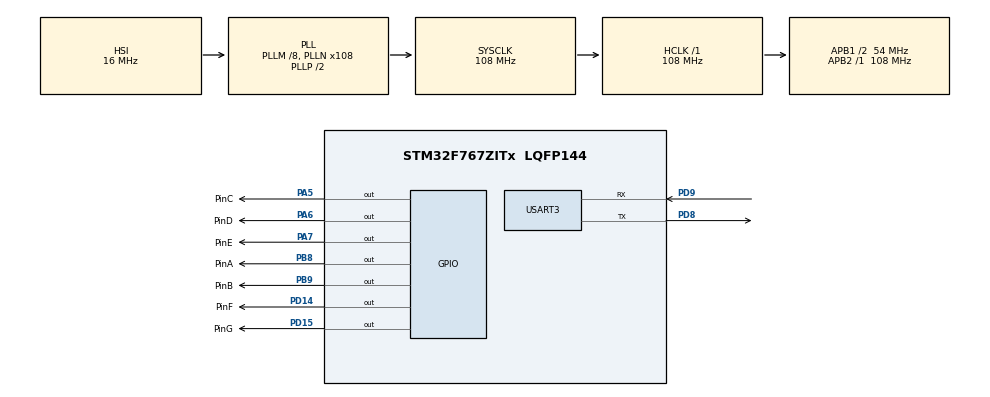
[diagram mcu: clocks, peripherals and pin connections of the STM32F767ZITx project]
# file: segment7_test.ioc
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CORTEX_M7.default_mode_Activation=1
Mcu.Family=STM32F7
Mcu.Name=STM32F767ZITx
Mcu.Package=LQFP144
NVIC.PriorityGroup=NVIC_PRIORITYGROUP_4
PA5.GPIO_Label=PinC
PA5.GPIO_PuPd=GPIO_NOPULL
PA5.Signal=GPIO_Output
PA6.GPIO_Label=PinD
PA6.GPIO_PuPd=GPIO_NOPULL
PA6.Signal=GPIO_Output
PA7.GPIO_Label=PinE
PA7.GPIO_PuPd=GPIO_NOPULL
PA7.Signal=GPIO_Output
PB8.GPIO_Label=PinA
PB8.GPIO_PuPd=GPIO_NOPULL
PB8.Signal=GPIO_Output
PB9.GPIO_Label=PinB
PB9.GPIO_PuPd=GPIO_NOPULL
PB9.Signal=GPIO_Output
PD14.GPIO_Label=PinF
PD14.GPIO_PuPd=GPIO_NOPULL
PD14.Signal=GPIO_Output
PD15.GPIO_Label=PinG
PD15.GPIO_PuPd=GPIO_NOPULL
PD15.Signal=GPIO_Output
PD8.Mode=Asynchronous
PD8.Signal=USART3_TX
PD9.Mode=Asynchronous
PD9.Signal=USART3_RX
PH0/OSC_IN.Mode=HSE-External-Oscillator
PH0/OSC_IN.Signal=RCC_OSC_IN
PH1/OSC_OUT.Mode=HSE-External-Oscillator
PH1/OSC_OUT.Signal=RCC_OSC_OUT
ProjectManager.HeapSize=0x200
ProjectManager.StackSize=0x400
ProjectManager.TargetToolchain=STM32CubeIDE
RCC.48MHZClocksFreq_Value=24000000
RCC.AHBFreq_Value=108000000
RCC.APB1CLKDivider=RCC_HCLK_DIV2
RCC.APB1Freq_Value=54000000
RCC.APB1TimFreq_Value=108000000
RCC.APB2Freq_Value=108000000
RCC.APB2TimFreq_Value=108000000
RCC.CortexFreq_Value=108000000
RCC.HCLKFreq_Value=108000000
RCC.HSE_VALUE=16000000
RCC.HSI_VALUE=16000000
RCC.LSE_VALUE=32768
RCC.PLLM=8
RCC.PLLMUL=RCC_PLL_MUL9
RCC.PLLN=108
RCC.PRESCALERUSB=RCC_USBCLKSOURCE_PLL_DIV1_5
RCC.SYSCLKFreq_VALUE=108000000
RCC.SYSCLKSource=RCC_SYSCLKSOURCE_PLLCLK
RCC.SYSCLKSourceVirtual=RCC_SYSCLKSOURCE_PLLCLK
RCC.USBFreq_Value=108000000
RCC.VCOOutputFreq_Value=216000000
USART3.VirtualMode-Asynchronous=VM_ASYNC
board=NUCLEO-F767ZI

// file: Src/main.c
/* USER CODE BEGIN Header */
/**
  ******************************************************************************
  * @file           : main.c
  * @brief          : Main program body
  ******************************************************************************
  * @attention
  *
  * Copyright (c) 2026 STMicroelectronics.
  * All rights reserved.
  *
  * This software is licensed under terms that can be found in the LICENSE file
  * in the root directory of this software component.
  * If no LICENSE file comes with this software, it is provided AS-IS.
  *
  ******************************************************************************
  */
/* USER CODE END Header */
#include "main.h"

UART_HandleTypeDef huart3;

/* USER CODE BEGIN PV */
// Set to 1 for Common Cathode (Active HIGH), 0 for Common Anode (Active LOW)
#define IS_COMMON_CATHODE 1

// Segment GPIO Port and Pins
GPIO_TypeDef* SEG_PORTS[7] = {
    PinA_GPIO_Port, // A
    PinB_GPIO_Port, // B
    PinC_GPIO_Port, // C
    PinD_GPIO_Port, // D
    PinE_GPIO_Port, // E
    PinF_GPIO_Port, // F
    PinG_GPIO_Port  // G
};

const uint16_t SEG_PINS[7] = {
    PinA_Pin, // A
    PinB_Pin, // B
    PinC_Pin, // C
    PinD_Pin, // D
    PinE_Pin, // E
    PinF_Pin, // F
    PinG_Pin  // G
};

// 7-Segment Digit Map (A, B, C, D, E, F, G)
// 1 = ON, 0 = OFF (for Common Cathode)
const uint8_t digit_map[10][7] = {
    {1, 1, 1, 1, 1, 1, 0}, // 0
    {0, 1, 1, 0, 0, 0, 0}, // 1
    {1, 1, 0, 1, 1, 0, 1}, // 2
    {1, 1, 1, 1, 0, 0, 1}, // 3
    {0, 1, 1, 0, 0, 1, 1}, // 4
    {1, 0, 1, 1, 0, 1, 1}, // 5
    {1, 0, 1, 1, 1, 1, 1}, // 6
    {1, 1, 1, 0, 0, 0, 0}, // 7
    {1, 1, 1, 1, 1, 1, 1}, // 8
    {1, 1, 1, 1, 0, 1, 1}  // 9
};

/* USER CODE END PV */

void SystemClock_Config(void);
static void MPU_Config(void);
static void MX_GPIO_Init(void);
static void MX_USART3_UART_Init(void);

/* USER CODE BEGIN 0 */
void Display_Number(uint8_t num) {
    if (num > 9) return;

    for (int i = 0; i < 7; i++) {
        uint8_t state = digit_map[num][i];

        #if !IS_COMMON_CATHODE
            state = !state; // Invert logic for Common Anode
        #endif

        HAL_GPIO_WritePin(SEG_PORTS[i], SEG_PINS[i], state ? GPIO_PIN_SET : GPIO_PIN_RESET);
    }
}

/* USER CODE END 0 */

int main(void)
{

  /* USER CODE BEGIN 1 */
  char uart_buf[128];
  int uart_buf_len;

  /* USER CODE END 1 */

  /* MPU Configuration--------------------------------------------------------*/
  MPU_Config();

  /* MCU Configuration--------------------------------------------------------*/

  /* Reset of all peripherals, Initializes the Flash interface and the Systick. */
  HAL_Init();

  /* Configure the system clock */
  SystemClock_Config();

  /* Initialize all configured peripherals */
  MX_GPIO_Init();
  MX_USART3_UART_Init();
  /* USER CODE BEGIN 2 */
  uart_buf_len = sprintf(uart_buf, "7-segment starting\r\n");
  HAL_UART_Transmit(&huart3, (uint8_t *)uart_buf, uart_buf_len, 100);

  /* USER CODE END 2 */

  /* Infinite loop */
  while (1)
  {

    /* USER CODE BEGIN 3 */
    for (int i = 9; i >= 0; i--) {
          uart_buf_len = sprintf(uart_buf, "Counting down: %d\r\n", i);
          HAL_UART_Transmit(&huart3, (uint8_t *)uart_buf, uart_buf_len, 100);

          Display_Number(i);
          // HAL_GPIO_TogglePin(SEG_PORTS[0], SEG_PINS[0]);
          // HAL_GPIO_TogglePin(SEG_PORTS[1], SEG_PINS[1]);
          // HAL_GPIO_TogglePin(SEG_PORTS[2], SEG_PINS[2]);
          // HAL_GPIO_TogglePin(SEG_PORTS[3], SEG_PINS[3]);
          HAL_Delay(1000);
      }
    uart_buf_len = sprintf(uart_buf, "Restarting\r\n");
    HAL_UART_Transmit(&huart3, (uint8_t *)uart_buf, uart_buf_len, 100);
  }
  /* USER CODE END 3 */
}

void SystemClock_Config(void)
{
  RCC_OscInitTypeDef RCC_OscInitStruct = {0};
  RCC_ClkInitTypeDef RCC_ClkInitStruct = {0};

  /** Configure the main internal regulator output voltage
  */
  __HAL_RCC_PWR_CLK_ENABLE();
  __HAL_PWR_VOLTAGESCALING_CONFIG(PWR_REGULATOR_VOLTAGE_SCALE3);

  /** Initializes the RCC Oscillators according to the specified parameters
  * in the RCC_OscInitTypeDef structure.
  */
  RCC_OscInitStruct.OscillatorType = RCC_OSCILLATORTYPE_HSI;
  RCC_OscInitStruct.HSIState = RCC_HSI_ON;
  RCC_OscInitStruct.HSICalibrationValue = RCC_HSICALIBRATION_DEFAULT;
  RCC_OscInitStruct.PLL.PLLState = RCC_PLL_ON;
  RCC_OscInitStruct.PLL.PLLSource = RCC_PLLSOURCE_HSI;
  RCC_OscInitStruct.PLL.PLLM = 8;
  RCC_OscInitStruct.PLL.PLLN = 108;
  RCC_OscInitStruct.PLL.PLLP = RCC_PLLP_DIV2;
  RCC_OscInitStruct.PLL.PLLQ = 2;
  RCC_OscInitStruct.PLL.PLLR = 2;
  if (HAL_RCC_OscConfig(&RCC_OscInitStruct) != HAL_OK)
  {
    Error_Handler();
  }

  /** Activate the Over-Drive mode
  */
  if (HAL_PWREx_EnableOverDrive() != HAL_OK)
  {
    Error_Handler();
  }

  /** Initializes the CPU, AHB and APB buses clocks
  */
  RCC_ClkInitStruct.ClockType = RCC_CLOCKTYPE_HCLK|RCC_CLOCKTYPE_SYSCLK
                              |RCC_CLOCKTYPE_PCLK1|RCC_CLOCKTYPE_PCLK2;
  RCC_ClkInitStruct.SYSCLKSource = RCC_SYSCLKSOURCE_PLLCLK;
  RCC_ClkInitStruct.AHBCLKDivider = RCC_SYSCLK_DIV1;
  RCC_ClkInitStruct.APB1CLKDivider = RCC_HCLK_DIV2;
  RCC_ClkInitStruct.APB2CLKDivider = RCC_HCLK_DIV1;

  if (HAL_RCC_ClockConfig(&RCC_ClkInitStruct, FLASH_LATENCY_3) != HAL_OK)
  {
    Error_Handler();
  }
}

static void MX_USART3_UART_Init(void)
{

  huart3.Instance = USART3;
  huart3.Init.BaudRate = 115200;
  huart3.Init.WordLength = UART_WORDLENGTH_8B;
  huart3.Init.StopBits = UART_STOPBITS_1;
  huart3.Init.Parity = UART_PARITY_NONE;
  huart3.Init.Mode = UART_MODE_TX_RX;
  huart3.Init.HwFlowCtl = UART_HWCONTROL_NONE;
  huart3.Init.OverSampling = UART_OVERSAMPLING_16;
  huart3.Init.OneBitSampling = UART_ONE_BIT_SAMPLE_DISABLE;
  huart3.AdvancedInit.AdvFeatureInit = UART_ADVFEATURE_NO_INIT;
  if (HAL_UART_Init(&huart3) != HAL_OK)
  {
    Error_Handler();
  }

}

static void MX_GPIO_Init(void)
{
  GPIO_InitTypeDef GPIO_InitStruct = {0};

  /* GPIO Ports Clock Enable */
  __HAL_RCC_GPIOH_CLK_ENABLE();
  __HAL_RCC_GPIOA_CLK_ENABLE();
  __HAL_RCC_GPIOD_CLK_ENABLE();
  __HAL_RCC_GPIOB_CLK_ENABLE();

  /*Configure GPIO pin Output Level */
  HAL_GPIO_WritePin(GPIOA, PinC_Pin|PinD_Pin|PinE_Pin, GPIO_PIN_RESET);

  /*Configure GPIO pin Output Level */
  HAL_GPIO_WritePin(GPIOD, PinF_Pin|PinG_Pin, GPIO_PIN_RESET);

  /*Configure GPIO pin Output Level */
  HAL_GPIO_WritePin(GPIOB, PinA_Pin|PinB_Pin, GPIO_PIN_RESET);

  /*Configure GPIO pins : PinC_Pin PinD_Pin PinE_Pin */
  GPIO_InitStruct.Pin = PinC_Pin|PinD_Pin|PinE_Pin;
  GPIO_InitStruct.Mode = GPIO_MODE_OUTPUT_PP;
  GPIO_InitStruct.Pull = GPIO_NOPULL;
  GPIO_InitStruct.Speed = GPIO_SPEED_FREQ_LOW;
  HAL_GPIO_Init(GPIOA, &GPIO_InitStruct);

  /*Configure GPIO pins : PinF_Pin PinG_Pin */
  GPIO_InitStruct.Pin = PinF_Pin|PinG_Pin;
  GPIO_InitStruct.Mode = GPIO_MODE_OUTPUT_PP;
  GPIO_InitStruct.Pull = GPIO_NOPULL;
  GPIO_InitStruct.Speed = GPIO_SPEED_FREQ_LOW;
  HAL_GPIO_Init(GPIOD, &GPIO_InitStruct);

  /*Configure GPIO pins : PinA_Pin PinB_Pin */
  GPIO_InitStruct.Pin = PinA_Pin|PinB_Pin;
  GPIO_InitStruct.Mode = GPIO_MODE_OUTPUT_PP;
  GPIO_InitStruct.Pull = GPIO_NOPULL;
  GPIO_InitStruct.Speed = GPIO_SPEED_FREQ_LOW;
  HAL_GPIO_Init(GPIOB, &GPIO_InitStruct);

}

 /* MPU Configuration */

void MPU_Config(void)
{
  MPU_Region_InitTypeDef MPU_InitStruct = {0};

  /* Disables the MPU */
  HAL_MPU_Disable();

  /** Initializes and configures the Region and the memory to be protected
  */
  MPU_InitStruct.Enable = MPU_REGION_ENABLE;
  MPU_InitStruct.Number = MPU_REGION_NUMBER0;
  MPU_InitStruct.BaseAddress = 0x0;
  MPU_InitStruct.Size = MPU_REGION_SIZE_4GB;
  MPU_InitStruct.SubRegionDisable = 0x87;
  MPU_InitStruct.TypeExtField = MPU_TEX_LEVEL0;
  MPU_InitStruct.AccessPermission = MPU_REGION_NO_ACCESS;
  MPU_InitStruct.DisableExec = MPU_INSTRUCTION_ACCESS_DISABLE;
  MPU_InitStruct.IsShareable = MPU_ACCESS_SHAREABLE;
  MPU_InitStruct.IsCacheable = MPU_ACCESS_NOT_CACHEABLE;
  MPU_InitStruct.IsBufferable = MPU_ACCESS_NOT_BUFFERABLE;

  HAL_MPU_ConfigRegion(&MPU_InitStruct);
  /* Enables the MPU */
  HAL_MPU_Enable(MPU_PRIVILEGED_DEFAULT);

}

void Error_Handler(void)
{
  __disable_irq();
  while (1)
  {
  }
}
